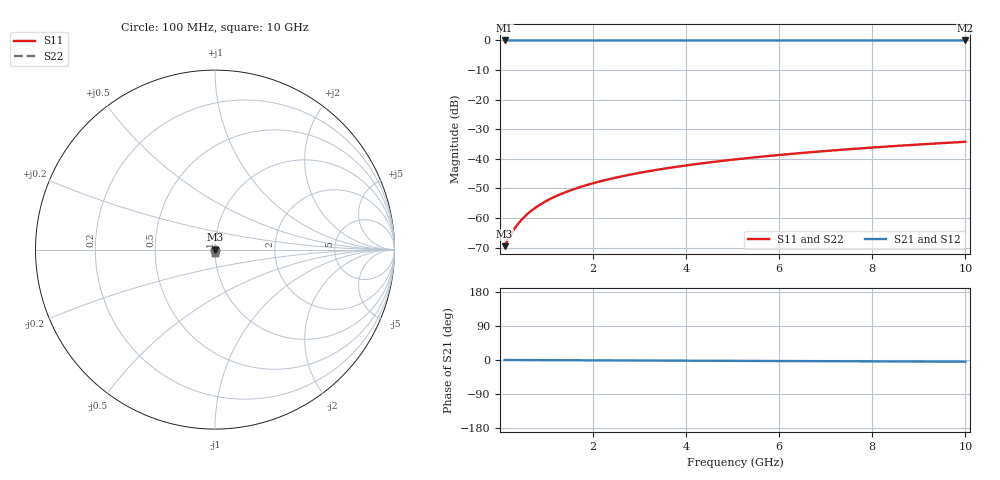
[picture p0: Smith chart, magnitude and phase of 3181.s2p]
# Hz S RI R 50.00
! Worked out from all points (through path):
!   100 points, 100 MHz to 10 GHz, reference 50 ohm
!   highest |S21| = 0.00 dB at 100 MHz (marker M1); lowest = 0.0 dB at 10 GHz (marker M2)
!   lowest |S11| = -69.5 dB at 100 MHz (marker M3), VSWR 1.00, Z = 50 - j0.0193 ohm
!   |S11| at or under -10 dB: start of sweep to end of sweep
!   |S22| runs from -69.5 to -34.2 dB; largest |S21 - S12| = 0
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1e8  0.000274 -0.000193  0.9997 -0.000785  0.9997 -0.000785  0.000274 -0.000193
2e8  0.000275 -0.000387  0.9997 -0.00157  0.9997 -0.00157  0.000275 -0.000387
3e8  0.000275 -0.00058  0.9997 -0.00235  0.9997 -0.00235  0.000275 -0.00058
4e8  0.000275 -0.000774  0.9997 -0.00314  0.9997 -0.00314  0.000275 -0.000774
5e8  0.000274 -0.000967  0.9997 -0.00392  0.9997 -0.00392  0.000274 -0.000967
6e8  0.000273 -0.00116  0.9997 -0.00471  0.9997 -0.00471  0.000273 -0.00116
7e8  0.000271 -0.00135  0.9997 -0.00549  0.9997 -0.00549  0.000271 -0.00135
9e8  0.000267 -0.00174  0.9997 -0.00706  0.9997 -0.00706  0.000267 -0.00174
1e9  0.000264 -0.00193  0.9997 -0.00785  0.9997 -0.00785  0.000264 -0.00193
1.2e9  0.000258 -0.00232  0.9997 -0.00942  0.9997 -0.00942  0.000258 -0.00232
1.5e9  0.000245 -0.0029  0.9996 -0.0118  0.9996 -0.0118  0.000245 -0.0029
1.8e9  0.00023 -0.00348  0.9996 -0.0141  0.9996 -0.0141  0.00023 -0.00348
2.1e9  0.000213 -0.00406  0.9996 -0.0165  0.9996 -0.0165  0.000213 -0.00406
2.5e9  0.000184 -0.00484  0.9995 -0.0196  0.9995 -0.0196  0.000184 -0.00484
2.9e9  0.000151 -0.00561  0.9994 -0.0228  0.9994 -0.0228  0.000151 -0.00561
3.4e9  0.000103 -0.00658  0.9993 -0.0267  0.9993 -0.0267  0.000103 -0.00658
4.2e9  9.22e-06 -0.00813  0.9991 -0.033  0.9991 -0.033  9.22e-06 -0.00813
5.1e9  -0.00012 -0.00988  0.9988 -0.0401  0.9988 -0.0401  -0.00012 -0.00988
5.9e9  -0.000255 -0.0114  0.9985 -0.0464  0.9985 -0.0464  -0.000255 -0.0114
6.7e9  -0.00041 -0.013  0.9982 -0.0527  0.9982 -0.0527  -0.00041 -0.013
8.4e9  -0.000806 -0.0163  0.9973 -0.0661  0.9973 -0.0661  -0.000806 -0.0163
1e10  -0.00126 -0.0194  0.9963 -0.0787  0.9963 -0.0787  -0.00126 -0.0194
